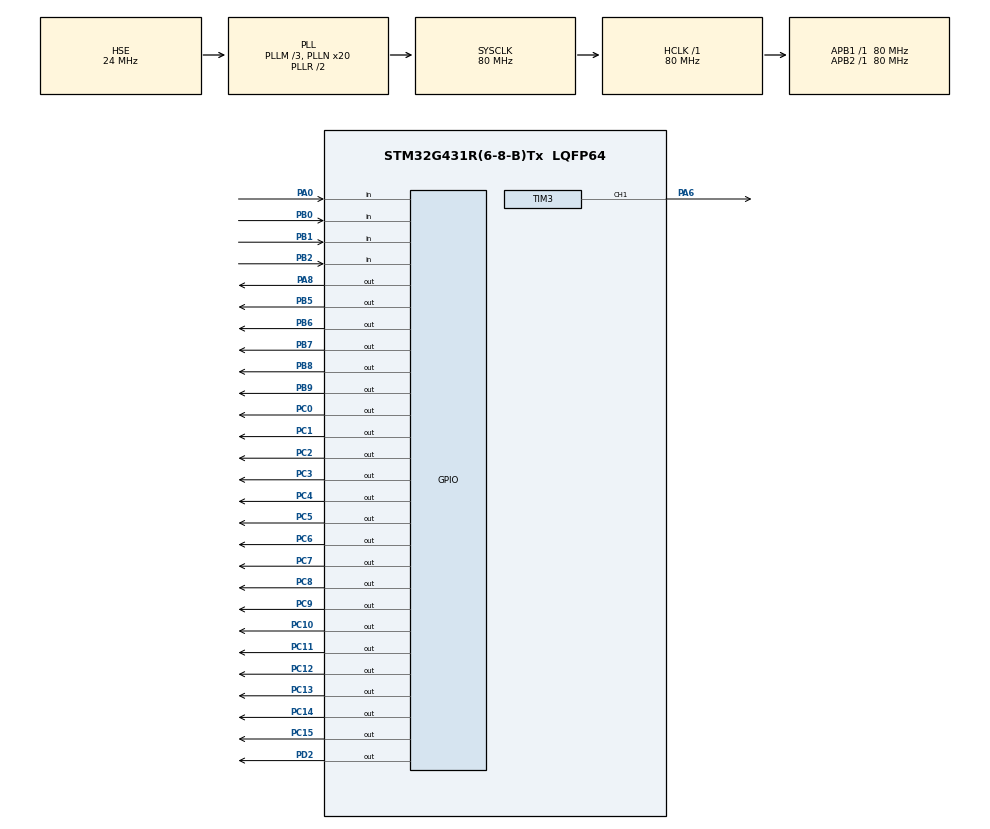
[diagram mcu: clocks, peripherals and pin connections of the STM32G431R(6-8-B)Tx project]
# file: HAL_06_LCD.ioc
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Mcu.Family=STM32G4
Mcu.Name=STM32G431R(6-8-B)Tx
Mcu.Package=LQFP64
NVIC.PriorityGroup=NVIC_PRIORITYGROUP_4
PA0.Signal=GPIO_Input
PA13.Mode=Serial_Wire
PA13.Signal=SYS_JTMS-SWDIO
PA14.Mode=Serial_Wire
PA14.Signal=SYS_JTCK-SWCLK
PA6.Signal=S_TIM3_CH1
PA8.Signal=GPIO_Output
PB0.Signal=GPIO_Input
PB1.Signal=GPIO_Input
PB2.Signal=GPIO_Input
PB5.Signal=GPIO_Output
PB6.GPIO_ModeDefaultOutputPP=GPIO_MODE_OUTPUT_OD
PB6.Signal=GPIO_Output
PB7.GPIO_ModeDefaultOutputPP=GPIO_MODE_OUTPUT_OD
PB7.Signal=GPIO_Output
PB8-BOOT0.Signal=GPIO_Output
PB9.Signal=GPIO_Output
PC0.Signal=GPIO_Output
PC1.Signal=GPIO_Output
PC10.Signal=GPIO_Output
PC11.Signal=GPIO_Output
PC12.Signal=GPIO_Output
PC13.Signal=GPIO_Output
PC14-OSC32_IN.Signal=GPIO_Output
PC15-OSC32_OUT.Signal=GPIO_Output
PC2.Signal=GPIO_Output
PC3.Signal=GPIO_Output
PC4.Signal=GPIO_Output
PC5.Signal=GPIO_Output
PC6.Signal=GPIO_Output
PC7.Signal=GPIO_Output
PC8.Signal=GPIO_Output
PC9.Signal=GPIO_Output
PD2.Signal=GPIO_Output
PF0-OSC_IN.Mode=HSE-External-Oscillator
PF0-OSC_IN.Signal=RCC_OSC_IN
PF1-OSC_OUT.Mode=HSE-External-Oscillator
PF1-OSC_OUT.Signal=RCC_OSC_OUT
ProjectManager.HeapSize=0x200
ProjectManager.StackSize=0x400
ProjectManager.TargetToolchain=MDK-ARM V5.27
RCC.ADC12Freq_Value=80000000
RCC.AHBFreq_Value=80000000
RCC.APB1Freq_Value=80000000
RCC.APB1TimFreq_Value=80000000
RCC.APB2Freq_Value=80000000
RCC.APB2TimFreq_Value=80000000
RCC.CortexFreq_Value=80000000
RCC.EXTERNAL_CLOCK_VALUE=12288000
RCC.HCLKFreq_Value=80000000
RCC.HSE_VALUE=24000000
RCC.HSI48_VALUE=48000000
RCC.HSI_VALUE=16000000
RCC.LSE_VALUE=32768
RCC.PLLM=RCC_PLLM_DIV3
RCC.PLLN=20
RCC.PLLSourceVirtual=RCC_PLLSOURCE_HSE
RCC.SYSCLKFreq_VALUE=80000000
RCC.SYSCLKSource=RCC_SYSCLKSOURCE_PLLCLK
RCC.USBFreq_Value=80000000
RCC.VCOOutputFreq_Value=160000000
SH.S_TIM3_CH1.0=TIM3_CH1,PWM Generation1 CH1
TIM3.Channel-PWM\ Generation1\ CH1=TIM_CHANNEL_1
TIM3.PeriodNoDither=999
TIM3.Prescaler=79
TIM3.PulseNoDither_1=800
VP_SYS_VS_DBSignals.Mode=DisableDeadBatterySignals
board=custom

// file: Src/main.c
/* USER CODE BEGIN Header */
/**
  ******************************************************************************
  * @file           : main.c
  * @brief          : Main program body
  ******************************************************************************
  * @attention
  *
  * <h2><center>&copy; Copyright (c) 2021 STMicroelectronics.
  * All rights reserved.</center></h2>
  *
  * This software component is licensed by ST under BSD 3-Clause license,
  * the "License"; You may not use this file except in compliance with the
  * License. You may obtain a copy of the License at:
  *                        opensource.org/licenses/BSD-3-Clause
  *
  ******************************************************************************
  */
/* USER CODE END Header */

#include "main.h"
#include "tim.h"
#include "gpio.h"

/* USER CODE BEGIN Includes */
#include "i2c.h"
#include "string.h"
#include "stdio.h"
/* USER CODE END Includes */

/* USER CODE BEGIN PTD */
vu32 ulTickms=0,ulHalfs=0,ulOnes=0;
u8 ucLed=0;

u8 ucState=0;				//0,123��4��5
u8 pucTime[15]={0};
u8 ucID=0;   //display need +1
vu32 ulTime;
u8 ucHour,ucMin,ucSec;
/* USER CODE END PTD */

void SystemClock_Config(void);
/* USER CODE BEGIN PFP */
void LCD_Proc(void);
void LED_Proc(void);
void KEY_Proc(void);
/* USER CODE END PFP */

int main(void)
{
  /* USER CODE BEGIN 1 */
	u8 m;
  /* USER CODE END 1 */

  /* MCU Configuration--------------------------------------------------------*/

  /* Reset of all peripherals, Initializes the Flash interface and the Systick. */
  HAL_Init();

  /* Configure the system clock */
  SystemClock_Config();

  /* Initialize all configured peripherals */
  MX_GPIO_Init();
  MX_TIM3_Init();
  /* USER CODE BEGIN 2 */

	LCD_Init();
  /* USER CODE END 2 */

  /* Infinite loop */
  /* USER CODE BEGIN WHILE */

	LCD_Clear(Blue);
	LCD_SetBackColor(Blue);
	LCD_SetTextColor(White);

	MEM_Read(0,pucTime,15);
	for(m=0;m<15;m++)
	{
		if(m % 3==0)
			if(pucTime[m]>=24) pucTime[m]=0;
		else
			if(pucTime[m]>=60) pucTime[m]=0;
	}
	ucID=0;
	ucState=0;
	ulTime =pucTime[ucID*3+0]*3600+pucTime[ucID*3+1]*60+pucTime[ucID*3+2];

  while (1)
  {
    LCD_Proc();
		LED_Proc();
		//Buzz_proc();
		KEY_Proc();
		/* USER CODE END WHILE */

  }
}

void SystemClock_Config(void)
{
  RCC_OscInitTypeDef RCC_OscInitStruct = {0};
  RCC_ClkInitTypeDef RCC_ClkInitStruct = {0};

  /** Configure the main internal regulator output voltage
  */
  HAL_PWREx_ControlVoltageScaling(PWR_REGULATOR_VOLTAGE_SCALE1);
  /** Initializes the CPU, AHB and APB busses clocks
  */
  RCC_OscInitStruct.OscillatorType = RCC_OSCILLATORTYPE_HSE;
  RCC_OscInitStruct.HSEState = RCC_HSE_ON;
  RCC_OscInitStruct.PLL.PLLState = RCC_PLL_ON;
  RCC_OscInitStruct.PLL.PLLSource = RCC_PLLSOURCE_HSE;
  RCC_OscInitStruct.PLL.PLLM = RCC_PLLM_DIV3;
  RCC_OscInitStruct.PLL.PLLN = 20;
  RCC_OscInitStruct.PLL.PLLP = RCC_PLLP_DIV2;
  RCC_OscInitStruct.PLL.PLLQ = RCC_PLLQ_DIV2;
  RCC_OscInitStruct.PLL.PLLR = RCC_PLLR_DIV2;
  if (HAL_RCC_OscConfig(&RCC_OscInitStruct) != HAL_OK)
  {
    Error_Handler();
  }
  /** Initializes the CPU, AHB and APB busses clocks
  */
  RCC_ClkInitStruct.ClockType = RCC_CLOCKTYPE_HCLK|RCC_CLOCKTYPE_SYSCLK
                              |RCC_CLOCKTYPE_PCLK1|RCC_CLOCKTYPE_PCLK2;
  RCC_ClkInitStruct.SYSCLKSource = RCC_SYSCLKSOURCE_PLLCLK;
  RCC_ClkInitStruct.AHBCLKDivider = RCC_SYSCLK_DIV1;
  RCC_ClkInitStruct.APB1CLKDivider = RCC_HCLK_DIV1;
  RCC_ClkInitStruct.APB2CLKDivider = RCC_HCLK_DIV1;

  if (HAL_RCC_ClockConfig(&RCC_ClkInitStruct, FLASH_LATENCY_3) != HAL_OK)
  {
    Error_Handler();
  }
}

/* USER CODE BEGIN 4 */
void LCD_Proc(void)
{
	u8 pucDisp[25]={0};
	//u8 *str2="hello";
	u8 ucDispH,ucDispM,ucDispS;
		//LCD_Clear(Blue);
		//LCD_DisplayChar(Line0,319-16*(2-1),*str2);
		ucDispH=ulTime / 3600;
		ucDispM=(ulTime % 3600)/60;
		ucDispS=ulTime %60;
		sprintf(pucDisp,"     No.%d",ucID+1);
		LCD_DisplayStringLine(Line2,(unsigned char *)pucDisp);

		if(ucState==0 || ucState>3)
		{
			sprintf(pucDisp,"     %02d:%02d:%02d",ucDispH,ucDispM,ucDispS);
			LCD_DisplayStringLine(Line3,(unsigned char *)pucDisp);
		}
		if(ucState ==1)
		{
			LCD_SetTextColor(Red);
			LCD_DisplayChar(Line3,319-16*(5+3*0),0x30+ucDispH/10);
			LCD_DisplayChar(Line3,319-16*(5+3*0+1),0x30+ucDispH %10);
			LCD_SetTextColor(White);
			LCD_DisplayChar(Line3,319-16*(5+3*0+2),':');
			LCD_DisplayChar(Line3,319-16*(5+3*1),0x30+ucDispM/10);
			LCD_DisplayChar(Line3,319-16*(5+3*1+1),0x30+ucDispM%10);
			LCD_DisplayChar(Line3,319-16*(5+3*1+2),':');
			LCD_DisplayChar(Line3,319-16*(5+3*2),0x30+ucDispS/10);
			LCD_DisplayChar(Line3,319-16*(5+3*2+1),0x30+ucDispS%10);
		}
		else if(ucState==2)
		{
			LCD_DisplayChar(Line3,319-16*(5+3*0),0x30+ucDispH/10);
			LCD_DisplayChar(Line3,319-16*(5+3*0+1),0x30+ucDispH %10);
			LCD_DisplayChar(Line3,319-16*(5+3*0+2),':');
			LCD_SetTextColor(Red);
			LCD_DisplayChar(Line3,319-16*(5+3*1),0x30+ucDispM/10);
			LCD_DisplayChar(Line3,319-16*(5+3*1+1),0x30+ucDispM%10);
			LCD_SetTextColor(White);
			LCD_DisplayChar(Line3,319-16*(5+3*1+2),':');
			LCD_DisplayChar(Line3,319-16*(5+3*2),0x30+ucDispS/10);
			LCD_DisplayChar(Line3,319-16*(5+3*2+1),0x30+ucDispS%10);
		}
		else if(ucState==3)
		{
			LCD_DisplayChar(Line3,319-16*(5+3*0),0x30+ucDispH/10);
			LCD_DisplayChar(Line3,319-16*(5+3*0+1),0x30+ucDispH %10);
			LCD_DisplayChar(Line3,319-16*(5+3*0+2),':');
			LCD_DisplayChar(Line3,319-16*(5+3*1),0x30+ucDispM/10);
			LCD_DisplayChar(Line3,319-16*(5+3*1+1),0x30+ucDispM%10);
			LCD_DisplayChar(Line3,319-16*(5+3*1+2),':');
			LCD_SetTextColor(Red);
			LCD_DisplayChar(Line3,319-16*(5+3*2),0x30+ucDispS/10);
			LCD_DisplayChar(Line3,319-16*(5+3*2+1),0x30+ucDispS%10);
			LCD_SetTextColor(White);
		}

		switch (ucState )
		{
			case 0:
				strcpy(pucDisp,"     Standby");
				//sprintf(pucDisp,"     %s","Standby");
				break;
			case 1:
			case 2:
			case 3:
				strcpy(pucDisp,"     Setting");
				break;
			case 4:
				strcpy(pucDisp,"     Running");
				break;
			case 5:
				strcpy(pucDisp,"     Pause  ");
				break;
		}
		LCD_DisplayStringLine(Line4,(unsigned char *)pucDisp);
}
void LED_Proc(void)
{
	u8 i=0;
	static u32 ulLedTime=0;
	if(ucState==4)
	{
		if(ulLedTime!=ulOnes)
		{
			ulLedTime=ulOnes;
			ucLed ^=1<<0;
		}
	}
	else
		ucLed &=~(1<<0);
	LED_Disp(ucLed);
}
void TIM_Proc0(void)
{
	if(ucState==4)
		HAL_TIM_PWM_Start(&htim3,TIM_CHANNEL_1);
	else
		HAL_TIM_PWM_Stop(&htim3,TIM_CHANNEL_1);
}
void KEY_Proc(void)
{
	u8 ucKey_Val;
	static u8 ucKey_Old=0;
	static u32 ulKey_Time=0;
	static u8 ucOnce=0;
	ucKey_Val=KEY_Read();
	if(ucKey_Val !=ucKey_Old)
	{
		ucKey_Old=ucKey_Val;
		ulKey_Time=ulTickms;
		ucOnce=0;
		switch(ucKey_Val)
		{
			case 1:
					LCD_Clear(Blue);
					ucID=(ucID+1) %5;
					ucState=0;
					ulTime =pucTime[ucID*3+0]*3600+pucTime[ucID*3+1]*60+pucTime[ucID*3+2];

				break;
			case 2:
				if(!ucState)
				{
					ucState=1;
					ucHour=ulTime / 3600;
					ucMin=(ulTime % 3600)/60;
					ucSec=ulTime %60;
				}
				else if(ucState <4)
				{
					ucState=(ucState-1+1) % 3+1;
				}
				break;
			case 3:
				switch(ucState)
				{
					case 1:
						ucHour=(ucHour+1)% 24;
						ulTime=ucHour*3600+ucMin*60+ucSec;
						break;
					case 2:
						ucMin=(ucMin+1)% 60;
						ulTime=ucHour*3600+ucMin*60+ucSec;
						break;
					case 3:
						ucSec=(ucSec+1)% 60;
						ulTime=ucHour*3600+ucMin*60+ucSec;
						break;
				}
				break;
			case 4:
				if(ucState!=4)
				{
					ucState =4;

				}
				else
				{
					ucState =5;

				}
				break;
		}
	}
	if(ulTickms-ulKey_Time>=800)
	{
		switch(ucKey_Old)
		{
			case 1:

				break;
			case 2:
				if(ucState>0 && ucState <4 )
				{
					pucTime[ucID*3+0]=ulTime / 3600;
					pucTime[ucID*3+1]=(ulTime % 3600)/60;
					pucTime[ucID*3+2]=ulTime %60;
					MEM_Write(0,pucTime,15);

					ucState =0;
				}

				break;
			case 3:
					switch(ucState)
					{
						case 1:
							ucHour=(ucHour+1)% 24;
							ulTime=ucHour*3600+ucMin*60+ucSec;
							break;
						case 2:
							ucMin=(ucMin+1)% 60;
							ulTime=ucHour*3600+ucMin*60+ucSec;
							break;
						case 3:
							ucSec=(ucSec+1)% 60;
							ulTime=ucHour*3600+ucMin*60+ucSec;
							break;
					}
					break;
			case 4:
				if(ucState ==4)
				{
					ucState =0;

				}
				break;
		}
	}

}
/* USER CODE END 4 */

void Error_Handler(void)
{
}

/************************ (C) COPYRIGHT STMicroelectronics *****END OF FILE****/
